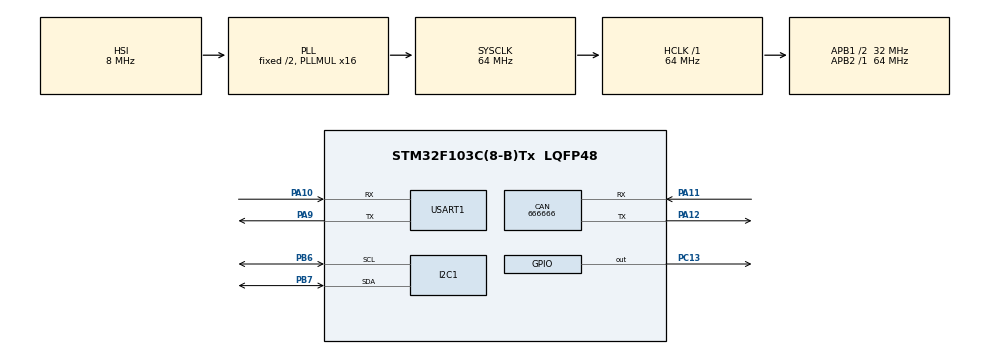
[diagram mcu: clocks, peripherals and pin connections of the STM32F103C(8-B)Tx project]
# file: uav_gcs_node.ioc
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CAN.CalculateBaudRate=666666
CAN.CalculateTimeBit=1500
CAN.CalculateTimeQuantum=500.0
CAN.Mode=CAN_MODE_LOOPBACK
FREERTOS.Tasks01=defaultTask,24,128,StartDefaultTask,Default,NULL,Dynamic,NULL,NULL
FREERTOS.TOTAL_HEAP_SIZE=6144
Mcu.Family=STM32F1
Mcu.Name=STM32F103C(8-B)Tx
Mcu.Package=LQFP48
NVIC.PriorityGroup=NVIC_PRIORITYGROUP_4
PA10.Mode=Asynchronous
PA10.Signal=USART1_RX
PA11.Mode=CAN_Activate
PA11.Signal=CAN_RX
PA12.Mode=CAN_Activate
PA12.Signal=CAN_TX
PA9.Mode=Asynchronous
PA9.Signal=USART1_TX
PB6.Mode=I2C
PB6.Signal=I2C1_SCL
PB7.Mode=I2C
PB7.Signal=I2C1_SDA
PC13-TAMPER-RTC.Signal=GPIO_Output
ProjectManager.HeapSize=0x200
ProjectManager.StackSize=0x400
ProjectManager.TargetToolchain=STM32CubeIDE
RCC.AHBFreq_Value=64000000
RCC.APB1CLKDivider=RCC_HCLK_DIV2
RCC.APB1Freq_Value=32000000
RCC.APB1TimFreq_Value=64000000
RCC.APB2Freq_Value=64000000
RCC.APB2TimFreq_Value=64000000
RCC.HCLKFreq_Value=64000000
RCC.PLLMUL=RCC_PLL_MUL16
RCC.SYSCLKFreq_VALUE=64000000
RCC.SYSCLKSource=RCC_SYSCLKSOURCE_PLLCLK
RCC.USBFreq_Value=64000000
USART1.VirtualMode=VM_ASYNC
VP_FREERTOS_VS_CMSIS_V2.Mode=CMSIS_V2
VP_SYS_VS_ND.Mode=No_Debug
board=custom

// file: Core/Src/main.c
/* USER CODE BEGIN Header */
/**
  ******************************************************************************
  * @file           : main.c
  * @brief          : Main program body
  ******************************************************************************
  * @attention
  *
  * Copyright (c) 2026 STMicroelectronics.
  * All rights reserved.
  *
  * This software is licensed under terms that can be found in the LICENSE file
  * in the root directory of this software component.
  * If no LICENSE file comes with this software, it is provided AS-IS.
  *
  ******************************************************************************
  */
/* USER CODE END Header */
#include "main.h"
#include "cmsis_os.h"
#include "can.h"
#include "i2c.h"
#include "usart.h"
#include "gpio.h"

void SystemClock_Config(void);
void MX_FREERTOS_Init(void);

int main(void)
{

  /* MCU Configuration--------------------------------------------------------*/

  /* Reset of all peripherals, Initializes the Flash interface and the Systick. */
  HAL_Init();

  /* Configure the system clock */
  SystemClock_Config();

  /* Initialize all configured peripherals */
  MX_GPIO_Init();
  MX_CAN_Init();
  MX_I2C1_Init();
  MX_USART1_UART_Init();

  /* Init scheduler */
  osKernelInitialize();  /* Call init function for freertos objects (in cmsis_os2.c) */
  MX_FREERTOS_Init();

  /* Start scheduler */
  osKernelStart();

  /* We should never get here as control is now taken by the scheduler */

  /* Infinite loop */
  while (1)
  {

  }
}

void SystemClock_Config(void)
{
  RCC_OscInitTypeDef RCC_OscInitStruct = {0};
  RCC_ClkInitTypeDef RCC_ClkInitStruct = {0};

  /** Initializes the RCC Oscillators according to the specified parameters
  * in the RCC_OscInitTypeDef structure.
  */
  RCC_OscInitStruct.OscillatorType = RCC_OSCILLATORTYPE_HSI;
  RCC_OscInitStruct.HSIState = RCC_HSI_ON;
  RCC_OscInitStruct.HSICalibrationValue = RCC_HSICALIBRATION_DEFAULT;
  RCC_OscInitStruct.PLL.PLLState = RCC_PLL_ON;
  RCC_OscInitStruct.PLL.PLLSource = RCC_PLLSOURCE_HSI_DIV2;
  RCC_OscInitStruct.PLL.PLLMUL = RCC_PLL_MUL16;
  if (HAL_RCC_OscConfig(&RCC_OscInitStruct) != HAL_OK)
  {
    Error_Handler();
  }

  /** Initializes the CPU, AHB and APB buses clocks
  */
  RCC_ClkInitStruct.ClockType = RCC_CLOCKTYPE_HCLK|RCC_CLOCKTYPE_SYSCLK
                              |RCC_CLOCKTYPE_PCLK1|RCC_CLOCKTYPE_PCLK2;
  RCC_ClkInitStruct.SYSCLKSource = RCC_SYSCLKSOURCE_PLLCLK;
  RCC_ClkInitStruct.AHBCLKDivider = RCC_SYSCLK_DIV1;
  RCC_ClkInitStruct.APB1CLKDivider = RCC_HCLK_DIV2;
  RCC_ClkInitStruct.APB2CLKDivider = RCC_HCLK_DIV1;

  if (HAL_RCC_ClockConfig(&RCC_ClkInitStruct, FLASH_LATENCY_2) != HAL_OK)
  {
    Error_Handler();
  }
}

void Error_Handler(void)
{
  __disable_irq();
  while (1)
  {
  }
}

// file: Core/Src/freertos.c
/* USER CODE BEGIN Header */
/**
  ******************************************************************************
  * File Name          : freertos.c
  * Description        : Code for freertos applications
  ******************************************************************************
  * @attention
  *
  * Copyright (c) 2026 STMicroelectronics.
  * All rights reserved.
  *
  * This software is licensed under terms that can be found in the LICENSE file
  * in the root directory of this software component.
  * If no LICENSE file comes with this software, it is provided AS-IS.
  *
  ******************************************************************************
  */
/* USER CODE END Header */

#include "FreeRTOS.h"
#include "task.h"
#include "main.h"
#include "cmsis_os.h"

/* USER CODE BEGIN Includes */
#include "can.h"
#include "usart.h"
#include "i2c.h"
#include "mpu6050.h"
#include "bmp180.h"
#include "qmc5883p.h"
#include "mavlink_bridge.h"
#include "queue.h"
#include "semphr.h"
#include <stdio.h>
#include <stdarg.h>
#include <string.h>
#include <float.h>
/* USER CODE END Includes */

/* USER CODE BEGIN Variables */

/* Queue handles */
QueueHandle_t xIMUQueue;
QueueHandle_t xBaroQueue;
QueueHandle_t xMagQueue;

/* Mutex handles */
SemaphoreHandle_t xCANMutex;
SemaphoreHandle_t xUARTMutex;
SemaphoreHandle_t xI2CMutex;    /* hi2c1, IMU/Baro/Mag task'lari arasinda paylasiliyor */
SemaphoreHandle_t xSensorMutex; /* g_sensor_snapshot okuma/yazma korumasi */

/* IMU/Baro/Mag task'larinin en son okudugu deger - MAVLINK_TX_TASK'in
 * kendi hizinda (queue tuketmeden, "en guncel deger" semantigiyle)
 * okuyabilmesi icin CAN yolundaki queue'lardan ayri, mutex korumali
 * paylasilan bir anlik goruntu (snapshot). */
static MAVLink_SensorSnapshot_t g_sensor_snapshot = {0};

/* Sensor data structs */
typedef struct {
    float accel_x, accel_y, accel_z;
    float gyro_x, gyro_y, gyro_z;
} IMU_Data_t;

typedef struct {
    float pressure;
    float temperature;
    float altitude;
} Baro_Data_t;

typedef struct {
    float mag_x, mag_y, mag_z;
} Mag_Data_t;

/* Task handle'lari - WDG_Task'tan stack high-water-mark okumak icin */
TaskHandle_t xImuTaskHandle, xBaroTaskHandle, xMagTaskHandle, xCanTaskHandle, xWdgTaskHandle, xMavlinkTaskHandle;

/* CAN handles */
CAN_TxHeaderTypeDef TxHeader;
CAN_RxHeaderTypeDef RxHeader;
uint8_t TxData[8];
uint8_t RxData[8];
uint32_t TxMailbox;

/* USER CODE END Variables */

/* USER CODE BEGIN FunctionPrototypes */
void IMU_Task(void *argument);
void Baro_Task(void *argument);
void Mag_Task(void *argument);
void CAN_TX_Task(void *argument);
void WDG_Task(void *argument);
void MAVLink_TX_Task(void *argument);
/* USER CODE END FunctionPrototypes */

void MX_FREERTOS_Init(void); /* (MISRA C 2004 rule 8.1) */

/* USER CODE BEGIN Application */

/* Debug/telemetri UART ayrimi: Release build'de (DEBUG tanimli degil) bu
 * fonksiyon no-op'a donusur, UART1 sadece MAVLink binary akisini tasir.
 * Debug build'de (DEBUG tanimli) insan-okunabilir loglar eskisi gibi basilir.
 * Gercek savunma sanayi/havacilik firmware'lerinde debug konsolu ile telemetri
 * hatti asla ayni fiziksel kanalda karistirilmaz - bu ayrim onu taklit eder. */
#ifdef DEBUG
static void Debug_UartPrint(const char *fmt, ...) {
    char msg[96];
    va_list args;
    va_start(args, fmt);
    vsnprintf(msg, sizeof(msg), fmt, args);
    va_end(args);
    if (xSemaphoreTake(xUARTMutex, pdMS_TO_TICKS(10)) == pdTRUE) {
        HAL_UART_Transmit(&huart1, (uint8_t*)msg, strlen(msg), 100);
        xSemaphoreGive(xUARTMutex);
    }
}
#define DBG_PRINT(...) Debug_UartPrint(__VA_ARGS__)
#else
#define DBG_PRINT(...) ((void)0)
#endif

void MX_FREERTOS_Init(void) {

    /* Queue olustur */
    xIMUQueue  = xQueueCreate(10, sizeof(IMU_Data_t));
    xBaroQueue = xQueueCreate(5,  sizeof(Baro_Data_t));
    xMagQueue  = xQueueCreate(5,  sizeof(Mag_Data_t));

    /* Mutex olustur */
    xCANMutex    = xSemaphoreCreateMutex();
    xUARTMutex   = xSemaphoreCreateMutex();
    xI2CMutex    = xSemaphoreCreateMutex();
    xSensorMutex = xSemaphoreCreateMutex();

    /* Task'lari olustur - IMU_TASK/MAG_TASK stack'leri kalibrasyon kodu
     * (ek float/struct lokal degiskenler + snprintf/HAL I2C nested cagrilar)
     * icin buyutuldu, bkz. CLAUDE.md "Bilinen Tuzak: stack overflow". 384/256
     * word'de bile tasma devam ettigi icin 512/512'ye cikarildi ve gercek
     * kullanimi olcmek icin handle'lar WDG_Task'a aktarildi. WDG_TASK'in kendi
     * stack'i de (128->256) buyutuldu - hwm print icin eklenen ikinci snprintf +
     * 5 uxTaskGetStackHighWaterMark cagrisi 128 word'de tasmaya sebep oluyordu.
     * BARO_TASK 128 word'de kalmisti (hic dokunulmamisti) - IMU/MAG/WDG buyuyunce
     * sira ona gelince (BMP180 init mesaji basilirken, tam UART transmit ortasinda
     * donma) o da tasti; 384 word'e cikarildi. Heap 10240'ta hala ~1KB marj var. */
    xTaskCreate(IMU_Task,     "IMU_TASK",     512, NULL, 4, &xImuTaskHandle);
    xTaskCreate(Baro_Task,    "BARO_TASK",    384, NULL, 3, &xBaroTaskHandle);
    xTaskCreate(Mag_Task,     "MAG_TASK",     512, NULL, 3, &xMagTaskHandle);
    xTaskCreate(CAN_TX_Task,  "CAN_TX_TASK",  256, NULL, 3, &xCanTaskHandle);
    /* mavlink_message_t + mavlink_msg_to_send_buffer'in buf[MAVLINK_MAX_PACKET_LEN]
     * dizisi (~280 byte) iki ayri fonksiyon frame'inde ust uste biniyor -
     * IMU/MAG'da yasadigimiz stack-tasma dersini burada da uygulayip 512
     * word'den basliyoruz, tahmin edip kucuk verip sonra buyutmuyoruz. */
    xTaskCreate(MAVLink_TX_Task, "MAVLINK_TASK", 512, NULL, 3, &xMavlinkTaskHandle);
    xTaskCreate(WDG_Task,     "WDG_TASK",     256, NULL, 1, &xWdgTaskHandle);

    /* Scheduler baslat */
    vTaskStartScheduler();
}

/* I2C bus tarama - hangi adreste cihaz ACK veriyor gormek icin (debug) */
static void I2C_Scan(I2C_HandleTypeDef *hi2c) {
    int found = 0;

    for (uint8_t addr = 1; addr < 128; addr++) {
        if (HAL_I2C_IsDeviceReady(hi2c, (uint16_t)(addr << 1), 2, 5) == HAL_OK) {
            DBG_PRINT("[I2C] cihaz bulundu: 0x%02X\r\n", addr);
            found++;
        }
    }

    if (found == 0) {
        DBG_PRINT("[I2C] bus taramasi: hicbir cihaz yanit vermedi\r\n");
    }
}

/* IMU Task - MPU6050 okuma, 500ms */
void IMU_Task(void *argument) {
    IMU_Data_t imu_data = {0};
    MPU6050_Data_t mpu_data;

    xSemaphoreTake(xI2CMutex, portMAX_DELAY);
    I2C_Scan(&hi2c1);

    /* MPU6050'yi baslat - basarisiz olursa task son okunan degerlerle devam eder */
    HAL_StatusTypeDef init_status = MPU6050_Init(&hi2c1);

    /* Gyro bias kalibrasyonu - kart bu sirada SABIT durmali (~1s, 200 ornek) */
    /* Release build'de DBG_PRINT no-op oldugu icin bu sadece debug amacli */
    HAL_StatusTypeDef gyro_cal_status __attribute__((unused)) = HAL_ERROR;
    if (init_status == HAL_OK) {
        gyro_cal_status = MPU6050_CalibrateGyro(&hi2c1, 200);
    }
    xSemaphoreGive(xI2CMutex);

    DBG_PRINT("[IMU] MPU6050 init %s\r\n", (init_status == HAL_OK) ? "OK" : "FAIL");

    if (init_status == HAL_OK) {
        float bx, by, bz;
        MPU6050_GetGyroBias(&bx, &by, &bz);
        DBG_PRINT("[IMU] gyro kalibrasyon %s bias gx:%d gy:%d gz:%d\r\n",
                  (gyro_cal_status == HAL_OK) ? "OK" : "FAIL",
                  (int)(bx * 100), (int)(by * 100), (int)(bz * 100));
    }

    for(;;) {
        xSemaphoreTake(xI2CMutex, portMAX_DELAY);
        HAL_StatusTypeDef read_status = MPU6050_ReadData(&hi2c1, &mpu_data);
        xSemaphoreGive(xI2CMutex);
        if(read_status == HAL_OK) {
            imu_data.accel_x = mpu_data.accel_x;
            imu_data.accel_y = mpu_data.accel_y;
            imu_data.accel_z = mpu_data.accel_z;
            imu_data.gyro_x  = mpu_data.gyro_x;
            imu_data.gyro_y  = mpu_data.gyro_y;
            imu_data.gyro_z  = mpu_data.gyro_z;

            if (xSemaphoreTake(xSensorMutex, pdMS_TO_TICKS(10)) == pdTRUE) {
                g_sensor_snapshot.accel_x = imu_data.accel_x;
                g_sensor_snapshot.accel_y = imu_data.accel_y;
                g_sensor_snapshot.accel_z = imu_data.accel_z;
                g_sensor_snapshot.gyro_x  = imu_data.gyro_x;
                g_sensor_snapshot.gyro_y  = imu_data.gyro_y;
                g_sensor_snapshot.gyro_z  = imu_data.gyro_z;
                xSemaphoreGive(xSensorMutex);
            }
        }

        xQueueSend(xIMUQueue, &imu_data, 0);

        /* UART debug - integer olarak gonder (float printf gerektirmez) */
        DBG_PRINT("[IMU] ax:%d ay:%d az:%d gx:%d gy:%d gz:%d\r\n",
                  (int)(imu_data.accel_x * 100),
                  (int)(imu_data.accel_y * 100),
                  (int)(imu_data.accel_z * 100),
                  (int)(imu_data.gyro_x  * 100),
                  (int)(imu_data.gyro_y  * 100),
                  (int)(imu_data.gyro_z  * 100));

        vTaskDelay(pdMS_TO_TICKS(500));
    }
}

/* Baro Task - BMP180 okuma, 2000ms */
void Baro_Task(void *argument) {
    Baro_Data_t baro_data = {0};
    BMP180_Data_t bmp_data;

    /* BMP180'i baslat - basarisiz olursa task son okunan degerlerle devam eder */
    xSemaphoreTake(xI2CMutex, portMAX_DELAY);
    /* Release build'de DBG_PRINT no-op oldugu icin bu sadece debug amacli */
    HAL_StatusTypeDef init_status __attribute__((unused)) = BMP180_Init(&hi2c1);
    xSemaphoreGive(xI2CMutex);
    DBG_PRINT("[BARO] BMP180 init %s\r\n", (init_status == HAL_OK) ? "OK" : "FAIL");

    for(;;) {
        xSemaphoreTake(xI2CMutex, portMAX_DELAY);
        HAL_StatusTypeDef read_status = BMP180_ReadData(&hi2c1, &bmp_data);
        xSemaphoreGive(xI2CMutex);
        if(read_status == HAL_OK) {
            baro_data.pressure    = bmp_data.pressure;
            baro_data.temperature = bmp_data.temperature;
            baro_data.altitude    = bmp_data.altitude;

            if (xSemaphoreTake(xSensorMutex, pdMS_TO_TICKS(10)) == pdTRUE) {
                g_sensor_snapshot.pressure    = baro_data.pressure;
                g_sensor_snapshot.temperature = baro_data.temperature;
                g_sensor_snapshot.altitude    = baro_data.altitude;
                xSemaphoreGive(xSensorMutex);
            }
        }

        xQueueSend(xBaroQueue, &baro_data, 0);

        DBG_PRINT("[BARO] p:%d t:%d alt:%d\r\n",
                  (int)(baro_data.pressure    * 100),
                  (int)(baro_data.temperature * 100),
                  (int)(baro_data.altitude    * 100));

        vTaskDelay(pdMS_TO_TICKS(2000));
    }
}

/* Mag Task - QMC5883P okuma, 1000ms */
void Mag_Task(void *argument) {
    Mag_Data_t mag_data = {0};
    QMC5883P_Data_t qmc_data;

    xSemaphoreTake(xI2CMutex, portMAX_DELAY);
    HAL_StatusTypeDef init_status = QMC5883P_Init(&hi2c1);
    xSemaphoreGive(xI2CMutex);

    DBG_PRINT("[MAG] QMC5883P init %s\r\n", (init_status == HAL_OK) ? "OK" : "FAIL");

    /* Hard-iron kalibrasyonu: karti 10sn boyunca tum yonlerde dondurup
     * min/max eksen degerlerinden ofset = (min+max)/2 hesapla */
    if (init_status == HAL_OK) {
        DBG_PRINT("[MAG] kalibrasyon basliyor - karti 10sn tum yonlerde dondur\r\n");

        float min_x = FLT_MAX, max_x = -FLT_MAX;
        float min_y = FLT_MAX, max_y = -FLT_MAX;
        float min_z = FLT_MAX, max_z = -FLT_MAX;

        for (int i = 0; i < 100; i++) {
            xSemaphoreTake(xI2CMutex, portMAX_DELAY);
            HAL_StatusTypeDef cal_read = QMC5883P_ReadData(&hi2c1, &qmc_data);
            xSemaphoreGive(xI2CMutex);
            if (cal_read == HAL_OK) {
                if (qmc_data.mag_x < min_x) min_x = qmc_data.mag_x;
                if (qmc_data.mag_x > max_x) max_x = qmc_data.mag_x;
                if (qmc_data.mag_y < min_y) min_y = qmc_data.mag_y;
                if (qmc_data.mag_y > max_y) max_y = qmc_data.mag_y;
                if (qmc_data.mag_z < min_z) min_z = qmc_data.mag_z;
                if (qmc_data.mag_z > max_z) max_z = qmc_data.mag_z;
            }
            vTaskDelay(pdMS_TO_TICKS(100));
        }

        if (max_x > min_x && max_y > min_y && max_z > min_z) {
            QMC5883P_SetHardIronOffset((min_x + max_x) / 2.0f, (min_y + max_y) / 2.0f, (min_z + max_z) / 2.0f);
        }

        float ox, oy, oz;
        QMC5883P_GetHardIronOffset(&ox, &oy, &oz);
        DBG_PRINT("[MAG] kalibrasyon tamam ofset x:%d y:%d z:%d\r\n",
                  (int)(ox * 100), (int)(oy * 100), (int)(oz * 100));
    }

    for(;;) {
        xSemaphoreTake(xI2CMutex, portMAX_DELAY);
        HAL_StatusTypeDef read_status = QMC5883P_ReadData(&hi2c1, &qmc_data);
        xSemaphoreGive(xI2CMutex);
        if(read_status == HAL_OK) {
            mag_data.mag_x = qmc_data.mag_x;
            mag_data.mag_y = qmc_data.mag_y;
            mag_data.mag_z = qmc_data.mag_z;

            if (xSemaphoreTake(xSensorMutex, pdMS_TO_TICKS(10)) == pdTRUE) {
                g_sensor_snapshot.mag_x = mag_data.mag_x;
                g_sensor_snapshot.mag_y = mag_data.mag_y;
                g_sensor_snapshot.mag_z = mag_data.mag_z;
                xSemaphoreGive(xSensorMutex);
            }
        }

        xQueueSend(xMagQueue, &mag_data, 0);

        DBG_PRINT("[MAG] mx:%d my:%d mz:%d\r\n",
                  (int)(mag_data.mag_x * 100),
                  (int)(mag_data.mag_y * 100),
                  (int)(mag_data.mag_z * 100));

        vTaskDelay(pdMS_TO_TICKS(1000));
    }
}

/* CAN TX Task - queue'dan al, CAN'a gonder */
void CAN_TX_Task(void *argument) {
    IMU_Data_t  imu_data;
    Baro_Data_t baro_data;
    Mag_Data_t  mag_data;

    /* CAN filtreyi baslat - tum mesajlari kabul et */
    CAN_FilterTypeDef sFilterConfig;
    sFilterConfig.FilterBank           = 0;
    sFilterConfig.FilterMode           = CAN_FILTERMODE_IDMASK;
    sFilterConfig.FilterScale          = CAN_FILTERSCALE_32BIT;
    sFilterConfig.FilterIdHigh         = 0x0000;
    sFilterConfig.FilterIdLow          = 0x0000;
    sFilterConfig.FilterMaskIdHigh     = 0x0000;
    sFilterConfig.FilterMaskIdLow      = 0x0000;
    sFilterConfig.FilterFIFOAssignment = CAN_RX_FIFO0;
    sFilterConfig.FilterActivation     = ENABLE;
    HAL_CAN_ConfigFilter(&hcan, &sFilterConfig);

    /* CAN'i baslat */
    HAL_CAN_Start(&hcan);

    for(;;) {
        /* IMU verisi geldi mi? */
        if(xQueueReceive(xIMUQueue, &imu_data, pdMS_TO_TICKS(10)) == pdTRUE) {
            if(xSemaphoreTake(xCANMutex, pdMS_TO_TICKS(5)) == pdTRUE) {

                TxHeader.StdId = 0x101;
                TxHeader.IDE   = CAN_ID_STD;
                TxHeader.RTR   = CAN_RTR_DATA;
                TxHeader.DLC   = 8;

                int16_t ax = (int16_t)(imu_data.accel_x * 100);
                int16_t ay = (int16_t)(imu_data.accel_y * 100);
                int16_t az = (int16_t)(imu_data.accel_z * 100);

                TxData[0] = (ax >> 8) & 0xFF;
                TxData[1] = ax & 0xFF;
                TxData[2] = (ay >> 8) & 0xFF;
                TxData[3] = ay & 0xFF;
                TxData[4] = (az >> 8) & 0xFF;
                TxData[5] = az & 0xFF;
                TxData[6] = 0x00;
                TxData[7] = 0x00;

                HAL_CAN_AddTxMessage(&hcan, &TxHeader, TxData, &TxMailbox);
                xSemaphoreGive(xCANMutex);
            }
        }

        /* Baro verisi geldi mi? */
        if(xQueueReceive(xBaroQueue, &baro_data, pdMS_TO_TICKS(10)) == pdTRUE) {
            if(xSemaphoreTake(xCANMutex, pdMS_TO_TICKS(5)) == pdTRUE) {
                /* TODO: CAN ID: 0x102 - Baro data */
                xSemaphoreGive(xCANMutex);
            }
        }

        /* Mag verisi geldi mi? */
        if(xQueueReceive(xMagQueue, &mag_data, pdMS_TO_TICKS(10)) == pdTRUE) {
            if(xSemaphoreTake(xCANMutex, pdMS_TO_TICKS(5)) == pdTRUE) {
                /* TODO: CAN ID: 0x103 - Mag data */
                xSemaphoreGive(xCANMutex);
            }
        }

        vTaskDelay(pdMS_TO_TICKS(10));
    }
}

/* MAVLink TX Task - HEARTBEAT (1Hz, zorunlu) + HIL_SENSOR (10Hz), UART uzerinden.
 * HIL_SENSOR, PX4 SITL'in HIL modunun sensor verisi icin bekledigi mesaj -
 * roadmap'teki "fiziksel IMU -> PX4 SITL" hedefine dogrudan hizmet eder.
 * NOT: IMU/Baro/Mag task'lari kendi periyotlarinda (500/2000/1000ms) tazeleniyor;
 * bu task 10Hz'de gonderim yapar ama tazelenmeler arasinda ayni degeri tekrar
 * yollar (tutma/hold semantigi, standart bir HIL bridge davranisi). PX4'un
 * gercek HIL modu >100Hz IMU bekler - bu, sensor donanimimizin fiziksel
 * limiti; ileride IMU_Task periyodu kisaltilarak iyilestirilebilir. */
void MAVLink_TX_Task(void *argument) {
    MAVLink_SensorSnapshot_t snapshot = {0};
    uint32_t iteration = 0;

    for(;;) {
        if (xSemaphoreTake(xSensorMutex, pdMS_TO_TICKS(10)) == pdTRUE) {
            snapshot = g_sensor_snapshot;
            xSemaphoreGive(xSensorMutex);
        }

        MAVLink_SendHilSensor(&huart1, xUARTMutex, &snapshot, (uint64_t)HAL_GetTick() * 1000ULL);

        /* HEARTBEAT 1Hz (10 iterasyonda bir, 10*100ms=1000ms) */
        if (iteration % 10 == 0) {
            MAVLink_SendHeartbeat(&huart1, xUARTMutex);
        }
        iteration++;

        vTaskDelay(pdMS_TO_TICKS(100));
    }
}

/* Watchdog Task - sistem sagligi izleme + LED blink, 1000ms */
void WDG_Task(void *argument) {
    /* Release build'de DBG_PRINT no-op oldugu icin bu sadece debug amacli */
    uint32_t tick __attribute__((unused)) = 0;
    for(;;) {
        /* PC13 LED toggle */
        HAL_GPIO_TogglePin(GPIOC, GPIO_PIN_13);

        /* Heap monitor + UART */
        uint32_t heap_free = xPortGetFreeHeapSize();
        DBG_PRINT("[WDG] tick:%lu heap:%lu free\r\n", tick, heap_free);
        tick++;

        /* Stack high-water-mark (kalan minimum bos stack, WORD cinsinden) -
         * ilk birkac saniyede stabillesir (kalibrasyon fazi bitince), tuning
         * icin gercek rakamlari gormek icin gecici olarak eklendi */
        DBG_PRINT("[WDG] hwm(word) imu:%u baro:%u mag:%u can:%u mav:%u wdg:%u\r\n",
                  (unsigned)uxTaskGetStackHighWaterMark(xImuTaskHandle),
                  (unsigned)uxTaskGetStackHighWaterMark(xBaroTaskHandle),
                  (unsigned)uxTaskGetStackHighWaterMark(xMagTaskHandle),
                  (unsigned)uxTaskGetStackHighWaterMark(xCanTaskHandle),
                  (unsigned)uxTaskGetStackHighWaterMark(xMavlinkTaskHandle),
                  (unsigned)uxTaskGetStackHighWaterMark(xWdgTaskHandle));

        /* Ayni hwm verisini PC'ye gercek bir tel uzerinden tasi (NAMED_VALUE_INT,
         * MAVLINK_TASK'in kullandigi UART1 hattinda) - DBG_PRINT'in aksine bu
         * Release build'de de calisir, cunku artik debug metni degil gercek
         * telemetri. Bkz. tools/gcs_web (dashboard'daki FreeRTOS paneli). */
        MAVLink_TaskHealth_t health = {
            .imu_hwm  = (uint32_t)uxTaskGetStackHighWaterMark(xImuTaskHandle),
            .baro_hwm = (uint32_t)uxTaskGetStackHighWaterMark(xBaroTaskHandle),
            .mag_hwm  = (uint32_t)uxTaskGetStackHighWaterMark(xMagTaskHandle),
            .can_hwm  = (uint32_t)uxTaskGetStackHighWaterMark(xCanTaskHandle),
            .mav_hwm  = (uint32_t)uxTaskGetStackHighWaterMark(xMavlinkTaskHandle),
            .wdg_hwm  = (uint32_t)uxTaskGetStackHighWaterMark(xWdgTaskHandle),
            .heap_free = heap_free,
        };
        MAVLink_SendTaskHealth(&huart1, xUARTMutex, &health, HAL_GetTick());

        vTaskDelay(pdMS_TO_TICKS(1000));
    }
}

/* Stack bir task'in sinirini astiginda buraya duser (configCHECK_FOR_STACK_OVERFLOW=2) -
 * interrupt'lari kapatip LED'i hizli yanip sondurerek "coktu" durumunu normal calismadan
 * (1sn'de bir toggle) ve tam donmadan (surekli yanik) ayirt edilebilir kilar. */
void vApplicationStackOverflowHook(TaskHandle_t xTask, char *pcTaskName) {
    (void)xTask;
    (void)pcTaskName;
    taskDISABLE_INTERRUPTS();
    for (;;) {
        HAL_GPIO_TogglePin(GPIOC, GPIO_PIN_13);
        for (volatile uint32_t i = 0; i < 200000; i++) { }
    }
}

/* Heap dolduğunda (pvPortMalloc basarisiz) buraya duser - stack overflow hook'undan
 * daha hizli bir blink deseniyle ayirt edilir. */
void vApplicationMallocFailedHook(void) {
    taskDISABLE_INTERRUPTS();
    for (;;) {
        HAL_GPIO_TogglePin(GPIOC, GPIO_PIN_13);
        for (volatile uint32_t i = 0; i < 50000; i++) { }
    }
}

/* USER CODE END Application */
